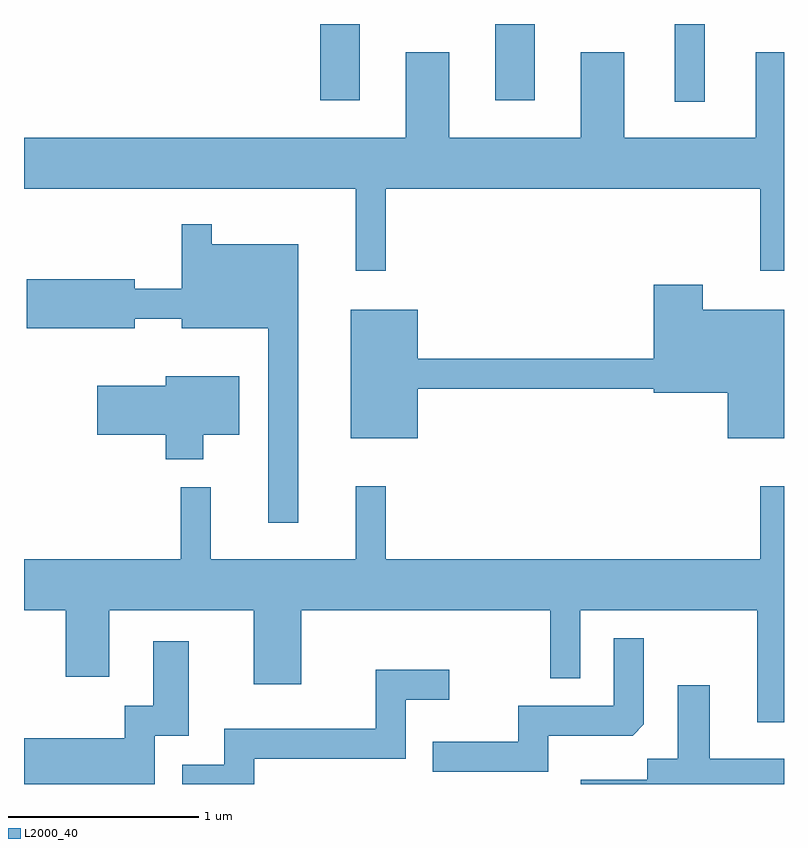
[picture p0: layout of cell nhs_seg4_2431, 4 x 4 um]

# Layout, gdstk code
import gdstk
lib = gdstk.Library(unit=1e-6, precision=1e-09)
def R(c, l, rs):  # rectangles x0, y0, x1, y1
    for r in rs: c.add(gdstk.rectangle(r[:2], r[2:], *l))
def P(c, l, *ps):  # polygons
    for p in ps: c.add(gdstk.Polygon(p, *l))
L2000_40 = (2000, 40)

nhs_seg4_2431 = lib.new_cell('nhs_seg4_2431')
R(nhs_seg4_2431, L2000_40, [(259.036,1359.573,259.194,1359.982), (257.171,1359.581,257.379,1359.982), (258.091,1359.581,258.299,1359.982)])
P(nhs_seg4_2431, L2000_40, [(257.514,1359.116),(259.486,1359.116),(259.486,1358.683),(259.611,1358.683),(259.611,1359.834),(259.461,1359.834),(259.461,1359.384),(258.769,1359.384),(258.769,1359.834),(258.541,1359.834),(258.541,1359.384),(257.849,1359.384),(257.849,1359.834),(257.621,1359.834),(257.621,1359.384),(255.611,1359.384),(255.611,1359.116),(257.356,1359.116),(257.356,1358.683),(257.514,1358.683)],
  [(257.054,1358.824),(256.599,1358.824),(256.599,1358.928),(256.441,1358.928),(256.441,1358.589),(256.194,1358.589),(256.194,1358.639),(255.626,1358.639),(255.626,1358.381),(256.194,1358.381),(256.194,1358.431),(256.441,1358.431),(256.441,1358.381),(256.896,1358.381),(256.896,1357.358),(257.054,1357.358)],
  [(257.684,1358.061),(258.926,1358.061),(258.926,1358.041),(259.316,1358.041),(259.316,1357.801),(259.611,1357.801),(259.611,1358.479),(259.184,1358.479),(259.184,1358.609),(258.926,1358.609),(258.926,1358.219),(257.684,1358.219),(257.684,1358.479),(257.331,1358.479),(257.331,1357.801),(257.684,1357.801)],
  [(256.554,1357.821),(256.744,1357.821),(256.744,1358.129),(256.356,1358.129),(256.356,1358.079),(255.996,1358.079),(255.996,1357.821),(256.356,1357.821),(256.356,1357.691),(256.554,1357.691)],
  [(259.611,1357.548),(259.486,1357.548),(259.486,1357.164),(257.514,1357.164),(257.514,1357.548),(257.356,1357.548),(257.356,1357.164),(256.594,1357.164),(256.594,1357.543),(256.436,1357.543),(256.436,1357.164),(255.611,1357.164),(255.611,1356.896),(255.831,1356.896),(255.831,1356.546),(256.059,1356.546),(256.059,1356.896),(256.821,1356.896),(256.821,1356.506),(257.069,1356.506),(257.069,1356.896),(258.381,1356.896),(258.381,1356.538),(258.539,1356.538),(258.539,1356.896),(259.471,1356.896),(259.471,1356.306),(259.611,1356.306)],
  [(258.369,1356.236),(258.814,1356.236),(258.874,1356.297),(258.874,1356.748),(258.716,1356.748),(258.716,1356.394),(258.211,1356.394),(258.211,1356.204),(257.763,1356.204),(257.763,1356.046),(258.369,1356.046)],
  [(256.299,1356.236),(256.479,1356.236),(256.479,1356.734),(256.291,1356.734),(256.291,1356.394),(256.141,1356.394),(256.141,1356.224),(255.611,1356.224),(255.611,1355.982),(256.299,1355.982)],
  [(256.824,1356.116),(257.619,1356.116),(257.619,1356.426),(257.848,1356.426),(257.848,1356.584),(257.461,1356.584),(257.461,1356.274),(256.666,1356.274),(256.666,1356.084),(256.443,1356.084),(256.443,1355.982),(256.824,1355.982)],
  [(259.611,1356.114),(259.219,1356.114),(259.219,1356.503),(259.051,1356.503),(259.051,1356.114),(258.891,1356.114),(258.891,1356.004),(258.541,1356.004),(258.541,1355.982),(259.611,1355.982)])

lib.write_gds('nhs_seg4_2431.gds')
